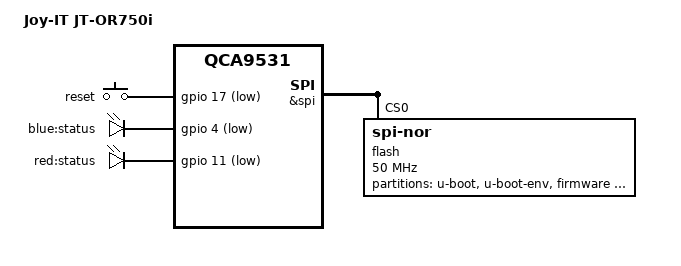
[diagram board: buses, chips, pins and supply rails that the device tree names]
// SPDX-License-Identifier: GPL-2.0-or-later OR MIT

#include "qca953x.dtsi"

#include <dt-bindings/gpio/gpio.h>
#include <dt-bindings/input/input.h>

/ {
	compatible = "joyit,jt-or750i", "qca,qca9531";
	model = "Joy-IT JT-OR750i";

	aliases {
		led-boot = &led_status_red;
		led-failsafe = &led_status_red;
		led-running = &led_status_blue;
		led-upgrade = &led_status_red;
		label-mac-device = &eth0;
	};

	keys {
		compatible = "gpio-keys";

		reset {
			label = "reset";
			linux,code = <KEY_RESTART>;
			gpios = <&gpio 17 GPIO_ACTIVE_LOW>;
		};
	};

	leds {
		compatible = "gpio-leds";

		pinctrl-names = "default";
		pinctrl-0 = <&led_wan_pin>;

		led_status_blue: status_blue {
			label = "blue:status";
			gpios = <&gpio 4 GPIO_ACTIVE_LOW>;
		};

		led_status_red: status_red {
			label = "red:status";
			gpios = <&gpio 11 GPIO_ACTIVE_LOW>;
		};
	};

&pinmux {
	/* GPIO 13: LED_LINK_5 (WAN) */
	led_wan_pin: pinmux_led_wan_pin {
		pinctrl-single,bits = <0x04 0x0000002d 0x000000ff>;
	};
};

&spi {
	status = "okay";

	flash@0 {
		compatible = "jedec,spi-nor";
		reg = <0>;
		spi-max-frequency = <50000000>;

		partitions {
			compatible = "fixed-partitions";
			#address-cells = <1>;
			#size-cells = <1>;

			partition@0 {
				label = "u-boot";
				reg = <0x0 0x40000>;
				read-only;
			};

			partition@40000 {
				label = "u-boot-env";
				reg = <0x40000 0x10000>;
				read-only;
			};

			partition@60000 {
				label = "firmware";
				reg = <0x60000 0xf80000>;
				compatible = "denx,uimage";
			};

			partition@fe0000 {
				label = "factory";
				reg = <0xfe0000 0x10000>;
				compatible = "denx,uimage";
			};
			
			art: partition@ff0000 {
				label = "art";
				reg = <0xff0000 0x10000>;
				read-only;
			};
		};
	};
};

&eth0 {
	status = "okay";

	phy-handle = <&swphy4>;

	nvmem-cells = <&macaddr_art_0>;
	nvmem-cell-names = "mac-address";
};

&eth1 {
	compatible = "qca,qca9530-eth", "syscon", "simple-mfd";

	nvmem-cells = <&macaddr_art_6>;
	nvmem-cell-names = "mac-address";
};

&wmac {
	status = "okay";

	mtd-cal-data = <&art 0x1000>;
};

&art {
	compatible = "nvmem-cells";
	#address-cells = <1>;
	#size-cells = <1>;

	macaddr_art_0: macaddr@0 {
		reg = <0x0 0x6>;
	};

	macaddr_art_6: macaddr@6 {
		reg = <0x6 0x6>;
	};
};
